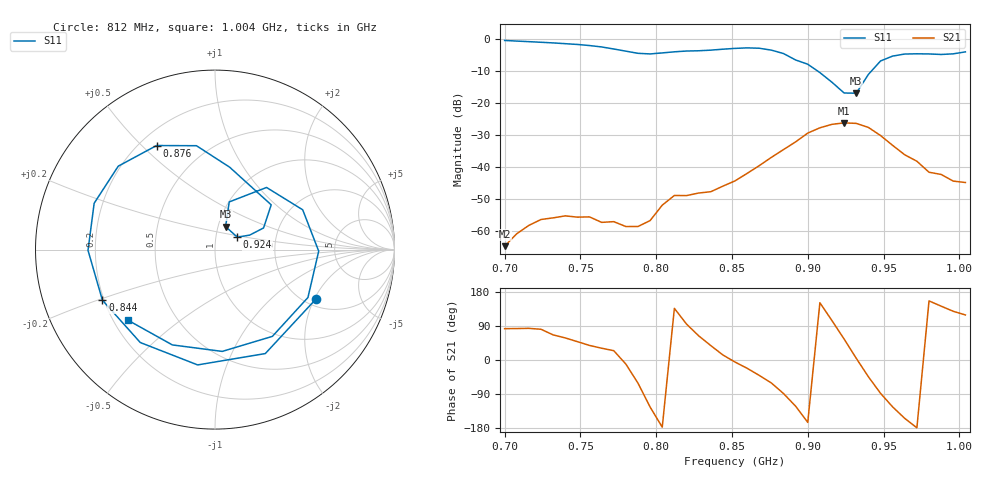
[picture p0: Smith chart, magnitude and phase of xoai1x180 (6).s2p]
# Hz S RI R 50
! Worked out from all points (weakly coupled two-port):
!   39 points, 700 MHz to 1.004 GHz, reference 50 ohm
!   highest |S21| = -26.28 dB at 924 MHz (marker M1); lowest = -64.8 dB at 700 MHz (marker M2)
!   lowest |S11| = -17.0 dB at 932 MHz (marker M3), VSWR 1.33, Z = 54.3 + j14.2 ohm
!   |S11| at or under -10 dB: 906.3 MHz to 942.2 MHz (35.9 MHz wide, 3.88 % of centre)
!   S12 and S22 are empty: the file has one direction only
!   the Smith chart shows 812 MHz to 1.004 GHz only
!   S11 on the Smith chart (normalised r, x): 812 MHz: 2.26, -2.06; 844 MHz: 0.19, -0.21; 876 MHz: 0.27, +0.55; 924 MHz: 1.27, +0.18; 1.004 GHz: 0.26, -0.33
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7e8  0.7589 0.557  7.31e-05 0.000571  0 0  0 0
7.24e8  0.8459 -0.2492  0.000232 0.00148  0 0  0 0
7.4e8  0.4601 -0.701  0.0009 0.00146  0 0  0 0
7.56e8  -0.1912 -0.7602  0.00129 0.00103  0 0  0 0
7.72e8  -0.662 -0.2032  0.00126 0.000579  0 0  0 0
7.8e8  -0.6014 0.2207  0.00115 -0.000219  0 0  0 0
7.88e8  -0.2544 0.5356  0.000563 -0.00102  0 0  0 0
7.96e8  0.2334 0.5305  -0.000812 -0.0012  0 0  0 0
8.04e8  0.5727 0.1841  -0.00251 -0.000122  0 0  0 0
8.12e8  0.5611 -0.2769  -0.00258 0.00246  0 0  0 0
8.28e8  -0.0968 -0.6424  0.00171 0.0035  0 0  0 0
8.44e8  -0.6273 -0.2817  0.00485 0.00115  0 0  0 0
8.52e8  -0.7075 -0.00402  0.006 -0.000566  0 0  0 0
8.76e8  -0.3257 0.5797  0.00687 -0.0123  0 0  0 0
9e8  0.3132 0.2495  -0.0324 -0.0089  0 0  0 0
9.08e8  0.2707 0.1207  -0.0356 0.0196  0 0  0 0
9.24e8  0.1242 0.0694  0.0277 0.0399  0 0  0 0
9.32e8  0.0591 0.1282  0.0475 0.0037  0 0  0 0
9.48e8  0.2872 0.3462  0.00115 -0.0308  0 0  0 0
9.56e8  0.4887 0.2217  -0.012 -0.018  0 0  0 0
9.8e8  0.3197 -0.4834  -0.00751 0.00335  0 0  0 0
1.004e9  -0.4847 -0.3935  -0.00275 0.00498  0 0  0 0
